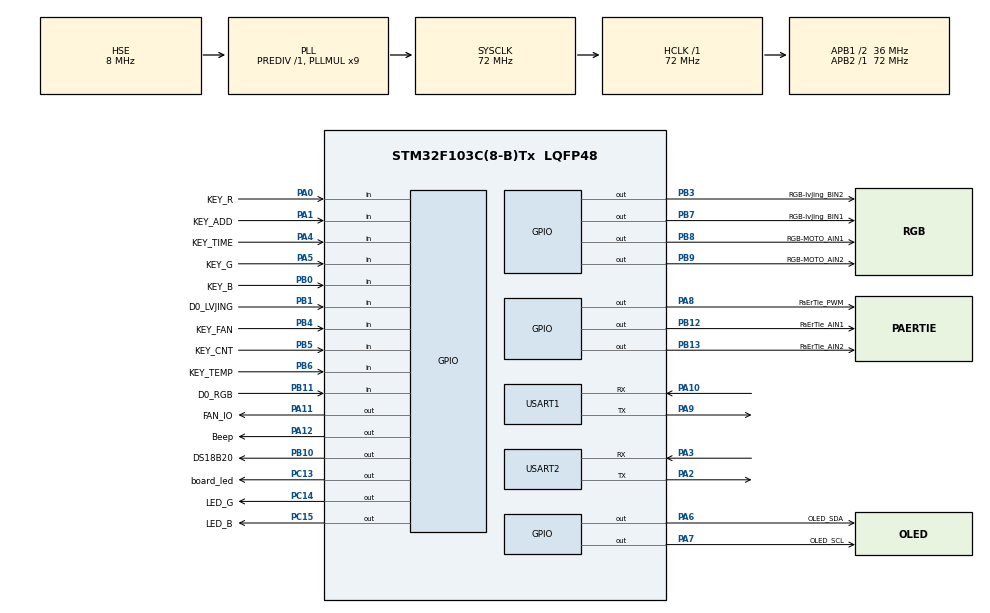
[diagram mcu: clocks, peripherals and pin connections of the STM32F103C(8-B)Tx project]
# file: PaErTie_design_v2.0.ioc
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Mcu.Family=STM32F1
Mcu.Name=STM32F103C(8-B)Tx
Mcu.Package=LQFP48
NVIC.PriorityGroup=NVIC_PRIORITYGROUP_4
NVIC.TIM1_UP_IRQn=true\:0\:0\:false\:false\:true\:true\:true\:true
NVIC.USART2_IRQn=true\:0\:0\:false\:false\:true\:true\:true\:true
PA0-WKUP.GPIO_Label=KEY_R
PA0-WKUP.Signal=GPIO_Input
PA1.GPIO_Label=KEY_ADD
PA1.Signal=GPIO_Input
PA10.Mode=Asynchronous
PA10.Signal=USART1_RX
PA11.GPIO_Label=FAN_IO
PA11.GPIO_Speed=GPIO_SPEED_FREQ_HIGH
PA11.Signal=GPIO_Output
PA12.GPIO_Label=Beep
PA12.GPIO_PuPd=GPIO_PULLDOWN
PA12.GPIO_Speed=GPIO_SPEED_FREQ_HIGH
PA12.Signal=GPIO_Output
PA13.Mode=Serial_Wire
PA13.Signal=SYS_JTMS-SWDIO
PA14.Mode=Serial_Wire
PA14.Signal=SYS_JTCK-SWCLK
PA2.Mode=Asynchronous
PA2.Signal=USART2_TX
PA3.Mode=Asynchronous
PA3.Signal=USART2_RX
PA4.GPIO_Label=KEY_TIME
PA4.Signal=GPIO_Input
PA5.GPIO_Label=KEY_G
PA5.Signal=GPIO_Input
PA6.GPIO_Label=OLED_SDA
PA6.GPIO_Speed=GPIO_SPEED_FREQ_HIGH
PA6.PinState=GPIO_PIN_SET
PA6.Signal=GPIO_Output
PA7.GPIO_Label=OLED_SCL
PA7.GPIO_Speed=GPIO_SPEED_FREQ_HIGH
PA7.PinState=GPIO_PIN_SET
PA7.Signal=GPIO_Output
PA8.GPIO_Label=PaErTie_PWM
PA8.GPIO_ModeDefaultOutputPP=GPIO_MODE_OUTPUT_PP
PA8.GPIO_PuPd=GPIO_PULLUP
PA8.GPIO_Speed=GPIO_SPEED_FREQ_HIGH
PA8.PinState=GPIO_PIN_SET
PA8.Signal=GPIO_Output
PA9.Mode=Asynchronous
PA9.Signal=USART1_TX
PB0.GPIO_Label=KEY_B
PB0.Signal=GPIO_Input
PB1.GPIO_Label=D0_LVJING
PB1.Signal=GPIO_Input
PB10.GPIO_Label=DS18B20
PB10.GPIO_PuPd=GPIO_PULLUP
PB10.GPIO_Speed=GPIO_SPEED_FREQ_HIGH
PB10.Signal=GPIO_Output
PB11.GPIO_Label=D0_RGB
PB11.Signal=GPIO_Input
PB12.GPIO_Label=PaErTie_AIN1
PB12.GPIO_Speed=GPIO_SPEED_FREQ_HIGH
PB12.Signal=GPIO_Output
PB13.GPIO_Label=PaErTie_AIN2
PB13.GPIO_Speed=GPIO_SPEED_FREQ_HIGH
PB13.PinState=GPIO_PIN_RESET
PB13.Signal=GPIO_Output
PB3.GPIO_Label=RGB-lvjing_BIN2
PB3.GPIO_Speed=GPIO_SPEED_FREQ_HIGH
PB3.Signal=GPIO_Output
PB4.GPIO_Label=KEY_FAN
PB4.Signal=GPIO_Input
PB5.GPIO_Label=KEY_CNT
PB5.Signal=GPIO_Input
PB6.GPIO_Label=KEY_TEMP
PB6.Signal=GPIO_Input
PB7.GPIO_Label=RGB-lvjing_BIN1
PB7.GPIO_Speed=GPIO_SPEED_FREQ_HIGH
PB7.Signal=GPIO_Output
PB8.GPIO_Label=RGB-MOTO_AIN1
PB8.GPIO_Speed=GPIO_SPEED_FREQ_HIGH
PB8.Signal=GPIO_Output
PB9.GPIO_Label=RGB-MOTO_AIN2
PB9.GPIO_Speed=GPIO_SPEED_FREQ_HIGH
PB9.Signal=GPIO_Output
PC13-TAMPER-RTC.GPIO_Label=board_led
PC13-TAMPER-RTC.GPIO_PuPd=GPIO_PULLDOWN
PC13-TAMPER-RTC.GPIO_Speed=GPIO_SPEED_FREQ_HIGH
PC13-TAMPER-RTC.PinState=GPIO_PIN_RESET
PC13-TAMPER-RTC.Signal=GPIO_Output
PC14-OSC32_IN.GPIO_Label=LED_G
PC14-OSC32_IN.GPIO_Speed=GPIO_SPEED_FREQ_HIGH
PC14-OSC32_IN.Signal=GPIO_Output
PC15-OSC32_OUT.GPIO_Label=LED_B
PC15-OSC32_OUT.Signal=GPIO_Output
PD0-OSC_IN.Mode=HSE-External-Oscillator
PD0-OSC_IN.Signal=RCC_OSC_IN
PD1-OSC_OUT.Mode=HSE-External-Oscillator
PD1-OSC_OUT.Signal=RCC_OSC_OUT
ProjectManager.HeapSize=0x200
ProjectManager.StackSize=0x400
ProjectManager.TargetToolchain=STM32CubeIDE
RCC.AHBFreq_Value=72000000
RCC.APB1CLKDivider=RCC_HCLK_DIV2
RCC.APB1Freq_Value=36000000
RCC.APB1TimFreq_Value=72000000
RCC.APB2Freq_Value=72000000
RCC.APB2TimFreq_Value=72000000
RCC.HCLKFreq_Value=72000000
RCC.PLLMUL=RCC_PLL_MUL9
RCC.PLLSourceVirtual=RCC_PLLSOURCE_HSE
RCC.SYSCLKFreq_VALUE=72000000
RCC.SYSCLKSource=RCC_SYSCLKSOURCE_PLLCLK
RCC.USBFreq_Value=72000000
TIM1.AutoReloadPreload=TIM_AUTORELOAD_PRELOAD_ENABLE
TIM1.Period=9999
TIM1.Prescaler=719
USART1.VirtualMode=VM_ASYNC
USART2.VirtualMode=VM_ASYNC
VP_TIM1_VS_ClockSourceINT.Mode=Internal
board=custom

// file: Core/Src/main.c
/* USER CODE BEGIN Header */
/**
  ******************************************************************************
  * @file           : main.c
  * @brief          : Main program body
  ******************************************************************************
  * @attention
  *
  * Copyright (c) 2026 STMicroelectronics.
  * All rights reserved.
  *
  * This software is licensed under terms that can be found in the LICENSE file
  * in the root directory of this software component.
  * If no LICENSE file comes with this software, it is provided AS-IS.
  *
  ******************************************************************************
  */
/* USER CODE END Header */
#include "main.h"
#include "tim.h"
#include "usart.h"
#include "gpio.h"

/* USER CODE BEGIN Includes */
#include "../oled/driver_ssd1306_basic.h"
#include "../DS18b20/ds18b20.h"
/* USER CODE END Includes */

/* USER CODE BEGIN PD */
#define Key_None 0
#define Key_Add 1
#define Key_Cnt 2
#define Key_Temp 3
#define Key_Time 4
#define Key_Fan 5
#define Key_R 6
#define Key_G 7
#define Key_B 8
#define hour 60
#define Max_time_fen 5*hour
/* USER CODE END PD */

/* USER CODE BEGIN PV */
TIM_HandleTypeDef htim2;

char buf[80];
uint32_t led_cnt = 0;
uint32_t num = 0;
uint32_t key_num = 0;
uint32_t num_cnt = 0;
uint8_t temp_tick = 0;
int32_t target_temp = 45;
int8_t Time_fen=0;
int8_t Time_miao=10;
uint8_t target_temp_set_flag=RESET;
uint8_t Time_set_flag=RESET;
uint8_t Time_flag=0;
uint8_t Temp_flag=0;
uint8_t fan_state_flag=0;
uint8_t R_led_flag=0;
uint8_t G_led_flag=0;
uint8_t B_led_flag=0;
uint8_t now_temp=0;//当前温度

typedef enum {
    STATE_IDLE,       /* 等待用户设置温度和時間 */
    STATE_HEATING,    /* 加热中：帕尔贴运行，等待温度达标 */
    STATE_COUNTDOWN,  /* 倒计时中：温度达标，时间递减 */
    STATE_ALERT       /* 蜂鸣提示中：响完后回到 IDLE */
} SystemState;
SystemState sys_state = STATE_IDLE;
uint8_t beep_timer = 0;  /* 蜂鸣器 100ms 节拍计数器 */

/* USER CODE END PV */

void SystemClock_Config(void);

/* USER CODE BEGIN 0 */
void moto1_run()
{
  HAL_GPIO_WritePin(RGB_MOTO_AIN1_GPIO_Port, RGB_MOTO_AIN1_Pin, GPIO_PIN_SET);
  HAL_GPIO_WritePin(RGB_MOTO_AIN2_GPIO_Port, RGB_MOTO_AIN2_Pin, GPIO_PIN_RESET);
}

void moto1_stop()
{
  HAL_GPIO_WritePin(RGB_MOTO_AIN1_GPIO_Port, RGB_MOTO_AIN1_Pin, GPIO_PIN_SET);
  HAL_GPIO_WritePin(RGB_MOTO_AIN2_GPIO_Port, RGB_MOTO_AIN2_Pin, GPIO_PIN_SET);
}

void moto2_run()
{
  HAL_GPIO_WritePin(RGB_lvjing_BIN1_GPIO_Port, RGB_lvjing_BIN1_Pin, GPIO_PIN_SET);
  HAL_GPIO_WritePin(RGB_lvjing_BIN2_GPIO_Port, RGB_lvjing_BIN2_Pin, GPIO_PIN_RESET);
}

void moto2_stop()
{
  HAL_GPIO_WritePin(RGB_lvjing_BIN1_GPIO_Port, RGB_lvjing_BIN1_Pin, GPIO_PIN_SET);
  HAL_GPIO_WritePin(RGB_lvjing_BIN2_GPIO_Port, RGB_lvjing_BIN2_Pin, GPIO_PIN_SET);
}

void moto_ack()
{
  if((num==Key_R))
  {
    moto1_run();
  }
  else
  {
    moto1_stop();
  }

  if((num==Key_G))
  {
    moto2_run();
  }
  else
  {
    moto2_stop();
  }
}
/**
 * P1  P2  PWM
 * 0  0    1    停止
 * 0  1    1    正转
 * 1  0    1    反转
 */
void PaErTie_Run()
{
  HAL_GPIO_WritePin(PaErTie_AIN1_GPIO_Port, PaErTie_PWM_Pin, GPIO_PIN_SET);
  HAL_GPIO_WritePin(PaErTie_AIN1_GPIO_Port, PaErTie_AIN1_Pin, GPIO_PIN_SET);
  HAL_GPIO_WritePin(PaErTie_AIN2_GPIO_Port, PaErTie_AIN2_Pin, GPIO_PIN_RESET);
}

void PaErTie_Stop()
{
  HAL_GPIO_WritePin(PaErTie_AIN1_GPIO_Port, PaErTie_PWM_Pin, GPIO_PIN_SET);
  HAL_GPIO_WritePin(PaErTie_AIN1_GPIO_Port, PaErTie_AIN1_Pin, GPIO_PIN_RESET);
  HAL_GPIO_WritePin(PaErTie_AIN2_GPIO_Port, PaErTie_AIN2_Pin, GPIO_PIN_RESET);
}

void PaErTie_ack()
{
    switch(sys_state)
    {
        case STATE_IDLE:
            /* 等待温度和時間都确认后进入加热状态 */
            if(target_temp_set_flag == SET && Time_set_flag == SET)
            {
                sys_state = STATE_HEATING;
            }
            break;

        case STATE_HEATING:
            if(target_temp > now_temp)
            {
                PaErTie_Run();
                snprintf(buf, sizeof(buf), "RUN ");
                ssd1306_basic_string_no_update(120-30, 48, buf, (uint16_t)strlen(buf), 1, SSD1306_FONT_12);
            }
            else
            {
                /* 温度达标，停止加热，进入倒计时 */
                PaErTie_Stop();
                sys_state = STATE_COUNTDOWN;
                snprintf(buf, sizeof(buf), "STOP");
                ssd1306_basic_string_no_update(120-30, 48, buf, (uint16_t)strlen(buf), 1, SSD1306_FONT_12);
            }
            break;

        case STATE_COUNTDOWN:
            PaErTie_Stop();
            if(target_temp > now_temp)
            {
                /* 倒计时期间温度掉落，重新加热保持温度 */
                sys_state = STATE_HEATING;
            }
            snprintf(buf, sizeof(buf), "STOP");
            ssd1306_basic_string_no_update(120-30, 48, buf, (uint16_t)strlen(buf), 1, SSD1306_FONT_12);
            break;

        case STATE_ALERT:
            PaErTie_Stop();
            /* 蜂鸣器时序在定时器回调中处理 */
            break;
    }
}

void HuoEr_state()
{
    if (HAL_GPIO_ReadPin(D0_LVJING_GPIO_Port, D0_LVJING_Pin) == GPIO_PIN_SET)
    {
      snprintf(buf, sizeof(buf), "HR1: %d", 1);
      ssd1306_basic_string_no_update(0, 12, buf, (uint16_t)strlen(buf), 1, SSD1306_FONT_12);
    }
    else
    {
      snprintf(buf, sizeof(buf), "HR1: %d", 0);
      ssd1306_basic_string_no_update(0, 12, buf, (uint16_t)strlen(buf), 1, SSD1306_FONT_12);
    }

    if (HAL_GPIO_ReadPin(D0_RGB_GPIO_Port, D0_RGB_Pin) == GPIO_PIN_SET)
    {
      snprintf(buf, sizeof(buf), "HR2: %d", 1);
      ssd1306_basic_string_no_update(6*8, 12, buf, (uint16_t)strlen(buf), 1, SSD1306_FONT_12);
    }
    else
    {
      snprintf(buf, sizeof(buf), "HR2: %d", 0);
      ssd1306_basic_string_no_update(6*8, 12, buf, (uint16_t)strlen(buf), 1, SSD1306_FONT_12);
    }
}

// void is_or_dis_xinghao_dis()
// {
//       if(Temp_flag==2)
//       {
//         Temp_flag=0;
//         target_temp_set_flag=SET;
//       }

//       if(Time_flag==3)
//       {
//         Time_flag=0;
//         Time_set_flag=SET;
//       }
// }

void key_scan_and_display()
{
    if (HAL_GPIO_ReadPin(KEY_ADD_GPIO_Port, KEY_ADD_Pin) == GPIO_PIN_RESET)
    {
      HAL_Delay(30);  /* 按下消抖 */
      if (HAL_GPIO_ReadPin(KEY_ADD_GPIO_Port, KEY_ADD_Pin) == GPIO_PIN_RESET)
      {
        num=Key_Add;
        /* 首次按下立即响应 */
        if(Time_flag==1)
        {
          Time_fen++;
          if(Time_fen>=Max_time_fen) Time_fen=0;
        }
        if(Time_flag==2)
        {
          Time_miao++;
          if(Time_miao>=60) { Time_miao=0; Time_fen++; }
        }
        if(Temp_flag==1)
        {
          target_temp++;
        }

        /* 长按自动重复：500ms 后每 100ms 触发一次 */
        uint32_t last_led = led_cnt;
        uint8_t  hold_ticks = 0;
        while(HAL_GPIO_ReadPin(KEY_ADD_GPIO_Port, KEY_ADD_Pin) == GPIO_PIN_RESET)
        {
          if(led_cnt != last_led)
          {
            last_led = led_cnt;
            hold_ticks++;
            if(hold_ticks >= 5)  /* 500ms 初始延迟 */
            {
              if(Time_flag==1)
              {
                Time_fen++;
                if(Time_fen>=Max_time_fen) Time_fen=0;
              }
              if(Time_flag==2)
              {
                Time_miao++;
                if(Time_miao>=60) { Time_miao=0; Time_fen++; }
              }
              if(Temp_flag==1)
              {
                target_temp++;
              }
            }
          }
        }
        HAL_Delay(30);  /* 释放消抖 */
      }
    }

    else if(HAL_GPIO_ReadPin(KEY_CNT_GPIO_Port, KEY_CNT_Pin) == GPIO_PIN_RESET)
    {
      HAL_Delay(30);  /* 按下消抖 */
      if (HAL_GPIO_ReadPin(KEY_CNT_GPIO_Port, KEY_CNT_Pin) == GPIO_PIN_RESET)
      {
        num=Key_Cnt;
        /* 首次按下立即响应 */
        if(Time_flag==1)
        {
          Time_fen--;
          if(Time_fen<=0) Time_fen=0;
        }
        if(Time_flag==2)
        {
          Time_miao--;
          if(Time_miao<=0) { Time_miao=59; Time_fen--; }
        }
        if(Temp_flag==1)
        {
          target_temp--;
          if(target_temp<=0) target_temp=0;
        }

        /* 长按自动重复：500ms 后每 100ms 触发一次 */
        uint32_t last_led = led_cnt;
        uint8_t  hold_ticks = 0;
        while(HAL_GPIO_ReadPin(KEY_CNT_GPIO_Port, KEY_CNT_Pin) == GPIO_PIN_RESET)
        {
          if(led_cnt != last_led)
          {
            last_led = led_cnt;
            hold_ticks++;
            if(hold_ticks >= 5)  /* 500ms 初始延迟 */
            {
              if(Time_flag==1)
              {
                Time_fen--;
                if(Time_fen<=0) Time_fen=0;
              }
              if(Time_flag==2)
              {
                Time_miao--;
                if(Time_miao<=0) { Time_miao=59; Time_fen--; }
              }
              if(Temp_flag==1)
              {
                target_temp--;
                if(target_temp<=0) target_temp=0;
              }
            }
          }
        }
        HAL_Delay(30);  /* 释放消抖 */
      }
    }

    else if(HAL_GPIO_ReadPin(KEY_TEMP_GPIO_Port, KEY_TEMP_Pin) == GPIO_PIN_RESET)
    {
      HAL_Delay(30);  /* 按下消抖 */
      if(HAL_GPIO_ReadPin(KEY_TEMP_GPIO_Port, KEY_TEMP_Pin) == GPIO_PIN_RESET)
      {
        num=Key_Temp;
        if(sys_state == STATE_IDLE)
        {
          Temp_flag++;
          if(Temp_flag==2)
          {
            Temp_flag=0;
            target_temp_set_flag=SET;
          }
        }
        while(!(HAL_GPIO_ReadPin(KEY_TEMP_GPIO_Port, KEY_TEMP_Pin) == GPIO_PIN_RESET));
        HAL_Delay(30);  /* 释放消抖 */
      }
    }
    else if(HAL_GPIO_ReadPin(KEY_TIME_GPIO_Port, KEY_TIME_Pin) == GPIO_PIN_RESET)
    {
      HAL_Delay(30);  /* 按下消抖 */
      if(HAL_GPIO_ReadPin(KEY_TIME_GPIO_Port, KEY_TIME_Pin) == GPIO_PIN_RESET)
      {
        num=Key_Time;
        if(sys_state == STATE_IDLE)
        {
          Time_flag++;
        }
        if(Time_flag==3)
        {
          Time_flag=0;
          Time_set_flag=SET;
        }
        while(!(HAL_GPIO_ReadPin(KEY_TIME_GPIO_Port, KEY_TIME_Pin) == GPIO_PIN_RESET));
        HAL_Delay(30);  /* 释放消抖 */
      }
    }

    else if(HAL_GPIO_ReadPin(KEY_FAN_GPIO_Port, KEY_FAN_Pin) == GPIO_PIN_RESET)
    {
      num=Key_Fan;
      fan_state_flag++;
      if(fan_state_flag==2)
      {
        fan_state_flag=0;
      }
      while(!(HAL_GPIO_ReadPin(KEY_FAN_GPIO_Port, KEY_FAN_Pin) == GPIO_PIN_RESET));
    }
    else if(HAL_GPIO_ReadPin(KEY_R_GPIO_Port, KEY_R_Pin) == GPIO_PIN_RESET)
    {
      num=Key_R;
      R_led_flag++;
      if(R_led_flag==2)
      {
        R_led_flag=0;
      }
      while(!(HAL_GPIO_ReadPin(KEY_R_GPIO_Port, KEY_R_Pin) == GPIO_PIN_RESET));
    }
    else if(HAL_GPIO_ReadPin(KEY_G_GPIO_Port, KEY_G_Pin) == GPIO_PIN_RESET)
    {
      num=Key_G;
      G_led_flag++;
      if(G_led_flag==2)
      {
        G_led_flag=0;
      }
      while(!(HAL_GPIO_ReadPin(KEY_G_GPIO_Port, KEY_G_Pin) == GPIO_PIN_RESET));
    }
    else if(HAL_GPIO_ReadPin(KEY_B_GPIO_Port, KEY_B_Pin) == GPIO_PIN_RESET)
    {
      num=Key_B;
      B_led_flag++;
      if(B_led_flag==2)
      {
        B_led_flag=0;
      }
      while(!(HAL_GPIO_ReadPin(KEY_B_GPIO_Port, KEY_B_Pin) == GPIO_PIN_RESET));
    }
    else
    {
      num=Key_None;
    }

    switch(num)
    {
      case Key_Add:
      snprintf(buf, sizeof(buf), "key is %s", "ADD "); break;
      case Key_Cnt:
      snprintf(buf, sizeof(buf), "key is %s", "CNT "); break;
      case Key_Temp:
      snprintf(buf, sizeof(buf), "key is %s", "TEMP"); break;
      case Key_Time:
      snprintf(buf, sizeof(buf), "key is %s", "TIME"); break;
      case Key_Fan:
      snprintf(buf, sizeof(buf), "key is %s", "FAN "); break;
      case Key_R:
      snprintf(buf, sizeof(buf), "key is %s", "R   "); break;
      case Key_G:
      snprintf(buf, sizeof(buf), "key is %s", "G   "); break;
      case Key_B:
      snprintf(buf, sizeof(buf), "key is %s", "B   "); break;
      default:
      snprintf(buf, sizeof(buf), "key is %s", "NONE"); break;
    }
    ssd1306_basic_string_no_update(0, 24, buf, (uint16_t)strlen(buf), 1, SSD1306_FONT_12);
}

void beep_ack()
{
    /* 蜂鸣器时序已在 HAL_TIM_PeriodElapsedCallback 中通过
       STATE_ALERT 状态机非阻塞处理（5 声短鸣，每声 200ms）。
       本函数保留以兼容主循环调用。 */
}

void Power_led_ack()
{
  if(R_led_flag)
  {
    HAL_GPIO_WritePin(board_led_GPIO_Port, board_led_Pin, GPIO_PIN_SET);
  }
  else
  {
    HAL_GPIO_WritePin(board_led_GPIO_Port, board_led_Pin, GPIO_PIN_RESET);
  }

  if(G_led_flag)
  {
    HAL_GPIO_WritePin(LED_G_GPIO_Port, LED_G_Pin, GPIO_PIN_SET);
  }
  else
  {
    HAL_GPIO_WritePin(LED_G_GPIO_Port, LED_G_Pin, GPIO_PIN_RESET);
  }

  if(B_led_flag)
  {
    HAL_GPIO_WritePin(LED_B_GPIO_Port, LED_B_Pin, GPIO_PIN_SET);
  }
  else
  {
    HAL_GPIO_WritePin(LED_B_GPIO_Port, LED_B_Pin, GPIO_PIN_RESET);
  }

}

void fan_ack()
{
  if(fan_state_flag==1)
  {
    HAL_GPIO_WritePin(FAN_IO_GPIO_Port, FAN_IO_Pin, GPIO_PIN_SET);
  }
  else
  {
    HAL_GPIO_WritePin(FAN_IO_GPIO_Port, FAN_IO_Pin, GPIO_PIN_RESET);
  }
}

void temp_state_and_display()
{
  char tbuf[20];
  int16_t val = DS18B20_GetTempTenths();

  if (val == DS18B20_ERROR_VAL)
  {
    snprintf(tbuf, sizeof(tbuf), "TEMP: --.- C");
  }
  else
  {
    uint8_t neg = 0;
    if (val < 0) { neg = 1; val = (int16_t)(-val); }
    uint8_t int_part = (uint8_t)(val / 10);
    uint8_t dec_part = (uint8_t)(val % 10);
    snprintf(tbuf, sizeof(tbuf), "TEMP:%c%d.%d C",
             neg ? '-' : ' ', int_part, dec_part);
    now_temp=int_part;
  }
  ssd1306_basic_string_no_update(0, 48, tbuf, (uint16_t)strlen(tbuf), 1, SSD1306_FONT_12);
}

void Time_dis()
{
  snprintf(buf, sizeof(buf), "T:%02d:%02d", Time_fen, Time_miao);
  ssd1306_basic_string_no_update(0, 0, buf, (uint16_t)strlen(buf), 1, SSD1306_FONT_12);
}

void Target_temp_dis()
{
  snprintf(buf, sizeof(buf), "TARGET:%d C", target_temp);
  ssd1306_basic_string_no_update(0, 36, buf, (uint16_t)strlen(buf), 1, SSD1306_FONT_12);
}

void HAL_TIM_PeriodElapsedCallback(TIM_HandleTypeDef *htim)
{
    if(htim->Instance == TIM1)
    {

        led_cnt++;
        temp_tick = 1;                    /* 100 ms temperature update flag */

          if(led_cnt%5==0)
          {
            if(Temp_flag==1)
            {
              snprintf(buf, sizeof(buf), "--");
              ssd1306_basic_string_no_update(42, 36, buf, (uint16_t)strlen(buf), 1, SSD1306_FONT_12);
            }

            if(Time_flag==1)
            {
              snprintf(buf, sizeof(buf), "--");
              ssd1306_basic_string_no_update(12, 0, buf, (uint16_t)strlen(buf), 1, SSD1306_FONT_12);
            }
            if(Time_flag==2)
            {
              snprintf(buf, sizeof(buf), "--");
              ssd1306_basic_string_no_update(30, 0, buf, (uint16_t)strlen(buf), 1, SSD1306_FONT_12);
            }
          }

        if(led_cnt >= 10)
        {
            led_cnt = 0;
            num_cnt++;

            /* ── 倒计时：仅在 COUNTDOWN 状态下执行 ── */
            if(sys_state == STATE_COUNTDOWN)
            {
                if(Time_miao > 0)
                {
                    Time_miao--;
                }
                else if(Time_fen > 0)
                {
                    Time_fen--;
                    Time_miao = 59;
                }

                /* 倒计时归零 → 进入蜂鸣提示 */
                if(Time_fen == 0 && Time_miao == 0)
                {
                    sys_state = STATE_ALERT;
                    beep_timer = 0;
                }
            }
            /* ── 蜂鸣器：HEAT 状态下非阻塞 2 声短鸣 ── */

            /* ── 蜂鸣器：ALERT 状态下非阻塞 5 声短鸣 ── */
            if(sys_state == STATE_ALERT)
            {
                beep_timer++;
                uint8_t cycle = beep_timer / 2;  /* 200ms 一个半周期 */

                if(cycle >= 10)  /* 5 声 = 10 个半周期 (5 ON + 5 OFF) */
                {
                    HAL_GPIO_WritePin(Beep_GPIO_Port, Beep_Pin, GPIO_PIN_RESET);
                    beep_timer = 0;
                    /* 本轮结束，复位标志，准备下一轮 */
                    target_temp_set_flag = RESET;
                    Time_set_flag = RESET;
                    sys_state = STATE_IDLE;
                }
                else if(cycle % 2 == 0)  /* ON 相位 */
                {
                    HAL_GPIO_WritePin(Beep_GPIO_Port, Beep_Pin, GPIO_PIN_SET);
                }
                else  /* OFF 相位 */
                {
                    HAL_GPIO_WritePin(Beep_GPIO_Port, Beep_Pin, GPIO_PIN_RESET);
                }
            }
          }
    }
}
/* USER CODE END 0 */

int main(void)
{

  /* MCU Configuration--------------------------------------------------------*/

  /* Reset of all peripherals, Initializes the Flash interface and the Systick. */
  HAL_Init();

  /* Configure the system clock */
  SystemClock_Config();

  /* Initialize all configured peripherals */
  MX_GPIO_Init();
  MX_USART1_UART_Init();
  MX_TIM1_Init();
  MX_USART2_UART_Init();
  /* USER CODE BEGIN 2 */
  HAL_GPIO_WritePin(GPIOC, GPIO_PIN_13, GPIO_PIN_RESET);
  HAL_GPIO_WritePin(Beep_GPIO_Port, Beep_Pin, GPIO_PIN_RESET);
  HAL_TIM_Base_Start_IT(&htim1);
  ssd1306_basic_init(SSD1306_INTERFACE_IIC, SSD1306_ADDR_SA0_0);
  ssd1306_basic_display_on();
  DS18B20_Init();
  /* USER CODE END 2 */

  /* Infinite loop */
  /* USER CODE BEGIN WHILE */
  while (1)
  {
    beep_ack();
    Power_led_ack();
    fan_ack();
    moto_ack();
    PaErTie_ack();

    // snprintf(buf, sizeof(buf), "num is %ld", num_cnt);
    // ssd1306_basic_string_no_update(0, 0, buf, (uint16_t)strlen(buf), 1, SSD1306_FONT_12);
    HuoEr_state();
    Target_temp_dis();
    /* ── 100 ms temperature update + display ── */
    if (temp_tick)
    {
        DS18B20_Process();
        temp_tick = 0;
    }
    temp_state_and_display();

    Time_dis();
//    is_or_dis_xinghao_dis();
    key_scan_and_display();
    /* single GRAM flush per loop — all display writes above use _no_update */
    ssd1306_basic_gram_update();
    /* USER CODE END WHILE */

  }
}

void SystemClock_Config(void)
{
  RCC_OscInitTypeDef RCC_OscInitStruct = {0};
  RCC_ClkInitTypeDef RCC_ClkInitStruct = {0};

  /** Initializes the RCC Oscillators according to the specified parameters
  * in the RCC_OscInitTypeDef structure.
  */
  RCC_OscInitStruct.OscillatorType = RCC_OSCILLATORTYPE_HSE;
  RCC_OscInitStruct.HSEState = RCC_HSE_ON;
  RCC_OscInitStruct.HSEPredivValue = RCC_HSE_PREDIV_DIV1;
  RCC_OscInitStruct.HSIState = RCC_HSI_ON;
  RCC_OscInitStruct.PLL.PLLState = RCC_PLL_ON;
  RCC_OscInitStruct.PLL.PLLSource = RCC_PLLSOURCE_HSE;
  RCC_OscInitStruct.PLL.PLLMUL = RCC_PLL_MUL9;
  if (HAL_RCC_OscConfig(&RCC_OscInitStruct) != HAL_OK)
  {
    Error_Handler();
  }

  /** Initializes the CPU, AHB and APB buses clocks
  */
  RCC_ClkInitStruct.ClockType = RCC_CLOCKTYPE_HCLK|RCC_CLOCKTYPE_SYSCLK
                              |RCC_CLOCKTYPE_PCLK1|RCC_CLOCKTYPE_PCLK2;
  RCC_ClkInitStruct.SYSCLKSource = RCC_SYSCLKSOURCE_PLLCLK;
  RCC_ClkInitStruct.AHBCLKDivider = RCC_SYSCLK_DIV1;
  RCC_ClkInitStruct.APB1CLKDivider = RCC_HCLK_DIV2;
  RCC_ClkInitStruct.APB2CLKDivider = RCC_HCLK_DIV1;

  if (HAL_RCC_ClockConfig(&RCC_ClkInitStruct, FLASH_LATENCY_2) != HAL_OK)
  {
    Error_Handler();
  }
}

void Error_Handler(void)
{
  __disable_irq();
  while (1)
  {
  }
}
